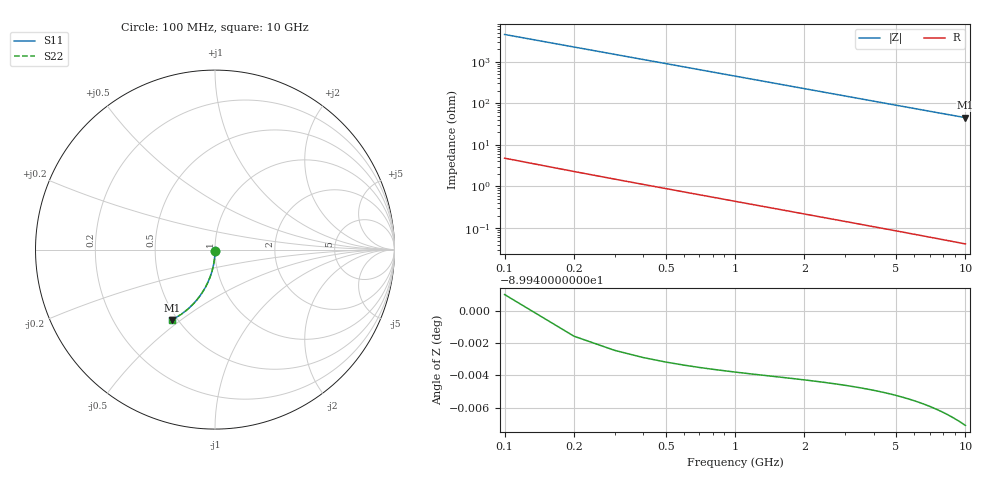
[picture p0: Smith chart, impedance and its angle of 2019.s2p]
# Hz S RI R 50.00
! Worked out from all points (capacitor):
!   100 points, 100 MHz to 10 GHz, reference 50 ohm
!   read as one part in shunt: C = 354 fF near 100 MHz
!   lowest |Z| = 45.1 ohm at 10 GHz (marker M1)
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1e8  6.12e-05 -0.00521  0.9999 -0.00593  0.9999 -0.00593  6.12e-05 -0.00521
2e8  -3.62e-05 -0.0104  0.9998 -0.0119  0.9998 -0.0119  -3.62e-05 -0.0104
3e8  -0.000195 -0.0156  0.9996 -0.0178  0.9996 -0.0178  -0.000195 -0.0156
4e8  -0.000416 -0.0208  0.9994 -0.0237  0.9994 -0.0237  -0.000416 -0.0208
5e8  -0.000699 -0.026  0.9991 -0.0296  0.9991 -0.0296  -0.000699 -0.026
6e8  -0.00104 -0.0312  0.9987 -0.0355  0.9987 -0.0355  -0.00104 -0.0312
7e8  -0.00145 -0.0364  0.9983 -0.0414  0.9983 -0.0414  -0.00145 -0.0364
8e8  -0.00192 -0.0416  0.9979 -0.0473  0.9979 -0.0473  -0.00192 -0.0416
9e8  -0.00244 -0.0468  0.9973 -0.0532  0.9973 -0.0532  -0.00244 -0.0468
1.1e9  -0.00368 -0.0571  0.9961 -0.065  0.9961 -0.065  -0.00368 -0.0571
1.4e9  -0.006 -0.0725  0.9937 -0.0826  0.9937 -0.0826  -0.006 -0.0725
1.8e9  -0.00992 -0.0929  0.9898 -0.1058  0.9898 -0.1058  -0.00992 -0.0929
2.1e9  -0.0135 -0.108  0.9862 -0.1231  0.9862 -0.1231  -0.0135 -0.108
2.5e9  -0.019 -0.1278  0.9806 -0.1458  0.9806 -0.1458  -0.019 -0.1278
2.9e9  -0.0255 -0.1473  0.9741 -0.1682  0.9741 -0.1682  -0.0255 -0.1473
3.4e9  -0.0347 -0.171  0.9647 -0.1955  0.9647 -0.1955  -0.0347 -0.171
4.2e9  -0.0522 -0.2074  0.9471 -0.2377  0.9471 -0.2377  -0.0522 -0.2074
5.1e9  -0.0753 -0.2456  0.9238 -0.2825  0.9238 -0.2825  -0.0753 -0.2456
5.9e9  -0.0985 -0.2769  0.9004 -0.3196  0.9004 -0.3196  -0.0985 -0.2769
6.7e9  -0.1238 -0.3053  0.8748 -0.3539  0.8748 -0.3539  -0.1238 -0.3053
8.4e9  -0.1826 -0.3561  0.8153 -0.4173  0.8153 -0.4173  -0.1826 -0.3561
1e10  -0.2415 -0.3918  0.7556 -0.465  0.7556 -0.465  -0.2415 -0.3918
